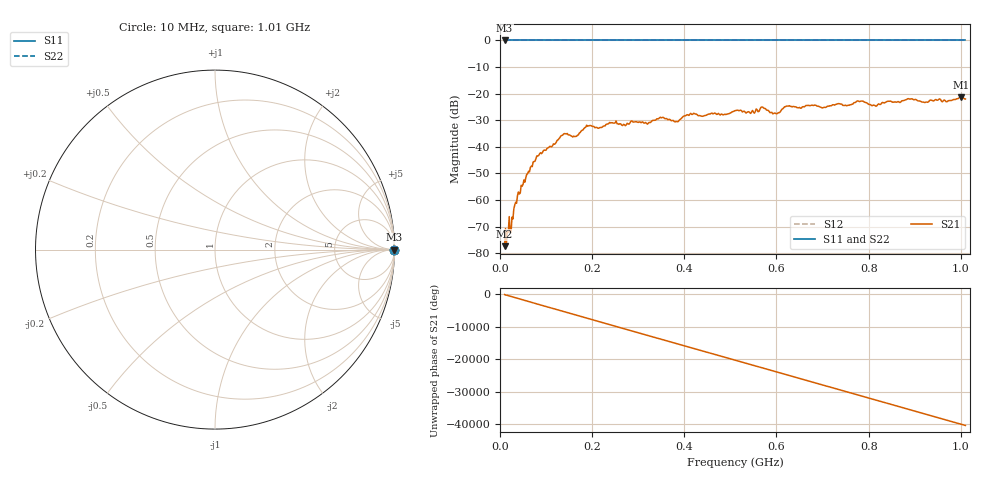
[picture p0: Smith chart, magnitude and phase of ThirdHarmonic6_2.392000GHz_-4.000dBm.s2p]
! 8/17/2025 3:53:03 AM
! C:\ANRITSUVNA\TEMP\TEMP.S2P
! CHANNEL.1
! TR.MEASUREMENT
! RAW.DATA
! RF.CORRECTION.OFF
! AVERAGING.OFF
! IF.BANDWIDTH: 5KHZ
! SWEEPTYPE:  FREQ.SWEEP(Linear)
! Reference Plane Port Info
! PORT:  PORT1  PORT2
! DISTANCE:  0  m  0  m
! TIME:  0  s  0  s
! PHASE.OFFSET:  0  deg.  0  deg.
! LOSS:  0  dB  0  dB
! REF.LOSS:  0  dB  0  dB
! REF.FREQ:  0  Hz  0  Hz
! Power Info
! POWER:  -20  dBm  -20  dBm
! EFF.POWER:  -20  dBm  -20  dBm
! SOURCE.ATTEN:  0  dB  0  dB
! TEST.ATTEN:  0  dB  0  dB
# GHZ S RI R 50.0
! FREQ.GHZ  S11RE  S11IM  S21RE  S21IM  S12RE  S12IM  S22RE  S22IM
!; PortSelection: Port_12
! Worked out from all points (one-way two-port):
!   501 points, 10 MHz to 1.01 GHz, reference 50 ohm
!   highest |S21| = -21.38 dB at 1 GHz (marker M1); lowest = -77.4 dB at 10 MHz (marker M2)
!   lowest |S11| = 0.0 dB at 10 MHz (marker M3)
!   |S11| at or under -10 dB: nowhere
!   |S22| runs from 0.0 to 0.0 dB; largest |S21 - S12| = 1.1
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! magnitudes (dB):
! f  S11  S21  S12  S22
! 10 MHz  0.0  -77.4  0.0  0.0
! 16 MHz  0.0  -72.0  0.0  0.0
! 26 MHz  0.0  -66.5  0.0  0.0
! 30 MHz  0.0  -63.4  0.0  0.0
! 42 MHz  0.0  -57.8  0.0  0.0
! 76 MHz  0.0  -45.4  0.0  0.0
! 136 MHz  0.0  -35.6  0.0  0.0
! 162 MHz  0.0  -36.1  0.0  0.0
! 178 MHz  0.0  -33.8  0.0  0.0
! 192 MHz  0.0  -32.1  0.0  0.0
! 322 MHz  0.0  -31.1  0.0  0.0
! 344 MHz  0.0  -29.5  0.0  0.0
! 382 MHz  0.0  -30.5  0.0  0.0
! 416 MHz  0.0  -27.8  0.0  0.0
! 510 MHz  0.0  -26.4  0.0  0.0
! 570 MHz  0.0  -25.1  0.0  0.0
! 598 MHz  0.0  -27.4  0.0  0.0
! 624 MHz  0.0  -24.7  0.0  0.0
! 678 MHz  0.0  -24.4  0.0  0.0
! 844 MHz  0.0  -22.9  0.0  0.0
! 1 GHz  0.0  -21.4  0.0  0.0
! 1.01 GHz  0.0  -22.0  0.0  0.0
